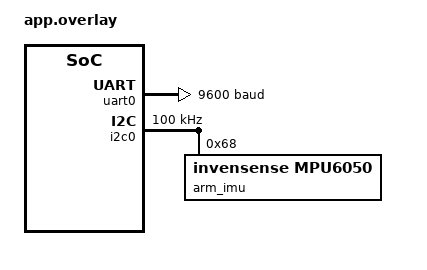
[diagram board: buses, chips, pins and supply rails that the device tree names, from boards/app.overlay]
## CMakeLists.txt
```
cmake_minimum_required(VERSION 3.13.1)
set(DTC_OVERLAY_FILE "boards/app.overlay")
find_package(Zephyr REQUIRED HINTS $ENV{ZEPHYR_BASE})
project(baahubali LANGUAGES C)
target_sources(app PRIVATE src/main.c)
```

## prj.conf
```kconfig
CONFIG_USB_DEVICE_PRODUCT="Team Rudra Baahubali"
CONFIG_Tarzan=y
CONFIG_USB_DEVICE_STACK=y
CONFIG_RTC=y
CONFIG_GPIO=y
CONFIG_PRINTK=y
CONFIG_Tarzan=y
CONFIG_MPU6050=y
CONFIG_I2C=y
CONFIG_SENSOR=y
CONFIG_QDEC_DIST_STM32=n
CONFIG_CANSCRIBE=y
CONFIG_CANARD=y
```

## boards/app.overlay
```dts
/ {
   
    aliases {
        imu-joint = &arm_imu;
   			pico-uart = &uart0;
    };
};

&uart0{
	status = "okay";
	current-speed = <9600>;
};
&i2c0 {
	status = "okay"; 
	pinctrl-0 = <&i2c0_default>;
	pinctrl-names = "default"; 
	clock-frequency = <100000>; 
  arm_imu: mpu6050@68 { 
		compatible = "invensense,mpu6050";
		reg = <0x68>;
		status = "okay"; 
	};
  };
```

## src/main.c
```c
#include <zephyr/kernel.h>
#include <zephyr/device.h>
#include <zephyr/drivers/i2c.h>
#include <zephyr/sys/printk.h>
#include <zephyr/sys/util.h>
#include <zephyr/drivers/uart.h>
#include <zephyr/drivers/sensor.h>
#include <Tarzan/lib/arm.h>
#include <Tarzan/lib/cobs.h>

static struct imu_data imu_used = {
   .error_code=IMU_NOT_READY,
   .prev_time= 0.0,
   .pitch= 0.0,
   .roll= 0.0
};
#define TX_BUF_LEN 512
static const struct device *imu_joint = DEVICE_DT_GET(DT_ALIAS(imu_joint));

const struct device *uart0_dev = DEVICE_DT_GET(DT_ALIAS(pico_uart));
// const struct device *uart1_dev = DEVICE_DT_GET(DT_NODELABEL(uart1));

#define M_PI 3.14159265358979323846

//float accel_offset[3], gyro_offset[3];
float angle_pitch = 0.0, angle_roll = 0.0;
float k = 0.90; // k here is tau
float target_angle = -45;
uint64_t prev_time = 0;

float true_acc[3] = {0, 0, -9.8};
float true_gyro[3] = {0, 0, 0};

int calibration_mpu(const struct device *dev, struct imu_data *data);
int process_pitch_roll_mpu(const struct device *dev, struct imu_data *data);
void send_string_poll(const struct device *uart_dev, const char *str);

int main(void)
{
    int ret;
    char tx_buf[TX_BUF_LEN];
    if (!device_is_ready(uart0_dev)) {
      printk("Uart0  device not ready\n");
      return -1;
    }
    // if (!device_is_ready(uart1_dev)) {
    //   printk("uart1 device not ready\n");
    //   return -1;
    // }


    if (!device_is_ready(imu_joint)) {
        printk("IMU not ready.\n");
    }
    if (calibration_mpu(imu_joint, &imu_used)) {
    printk("Calibration failed for device %s\n", imu_joint->name);
    }
    while(1)
  {
    ret = process_pitch_roll_mpu(imu_joint, &imu_used); 
    cobs_encode_result result = cobs_encode(tx_buf, TX_BUF_LEN, &imu_used, sizeof(struct imu_data)); 
    tx_buf[TX_BUF_LEN - 1] = 0x00;
    for (int i = 0; i < TX_BUF_LEN; i++) {
      uart_poll_out(uart0_dev, tx_buf[i]);
    }
  }
}

int calibration_mpu(const struct device *dev, struct imu_data *data) {
  struct sensor_value accel[3];
  struct sensor_value gyro[3];

  for (int i = 0; i < 1000; i++) {

    int rc = sensor_sample_fetch(dev);
     if(rc!=0) {
       data->error_code= IMU_FETCH_FAILED;
       return -1;
     }
    
     rc = sensor_channel_get(dev, SENSOR_CHAN_ACCEL_XYZ, accel);
     if(rc!=0) {
       data->error_code= IMU_FETCH_FAILED;
       return -1;
     }

      rc = sensor_channel_get(dev, SENSOR_CHAN_GYRO_XYZ, gyro);
     if(rc!=0) {
      data->error_code= IMU_FETCH_FAILED;
      return -1;
    }

    for (int i = 0; i < 3; i++) {
      data->accel_offset[i] += (sensor_value_to_double(&accel[i]) - true_acc[i]);
      data->gyro_offset[i] += (sensor_value_to_double(&gyro[i]) - true_gyro[i]);
    }
    k_sleep(K_MSEC(1));
  }
  data->error_code= IMU_OK;
  for (int i = 0; i < 3; i++) {
    data->accel_offset[i] = data->accel_offset[i] / 1000.0;
    data->gyro_offset[i] = data->gyro_offset[i] / 1000.0;
  }

  printk("Calibration done\n");
  printk("accel_offset: %f %f %f\n", data->accel_offset[0], data->accel_offset[1],
         data->accel_offset[2]);
  printk("gyroOffset: %f %f %f\n", data->gyro_offset[0], data->gyro_offset[1],
         data->gyro_offset[2]);

  return 0;
}

int process_pitch_roll_mpu(const struct device *dev, struct imu_data *data) {

  struct sensor_value accel[3];
  struct sensor_value gyro[3];

  uint64_t current_time = k_uptime_get();

  double dt = (double)(current_time - data->prev_time) / 1000.0;

  int rc = sensor_sample_fetch(dev);

  if (rc == 0)
    rc = sensor_channel_get(dev, SENSOR_CHAN_ACCEL_XYZ, accel);
  if (rc == 0)
    rc = sensor_channel_get(dev, SENSOR_CHAN_GYRO_XYZ, gyro);
  if(rc !=0)
  {
    data->error_code= IMU_FETCH_FAILED;
    return -1;
  }

  data->prev_time = current_time;
  data->accel[0] = sensor_value_to_double(&accel[0]);
  data->accel[1] = sensor_value_to_double(&accel[1]);
  data->accel[2] = sensor_value_to_double(&accel[2]);
  data->gyro[0] = sensor_value_to_double(&gyro[0]) - data->gyro_offset[0];
  data->gyro[1] = sensor_value_to_double(&gyro[1]) - data->gyro_offset[1];
  data->gyro[2] = sensor_value_to_double(&gyro[2]) - data->gyro_offset[2];

  // printk("%03.3f %03.3f %03.3f | %03.3f %03.3f %03.3f\n", data->accel[0],
  // data->accel[1], data->accel[2], data->gyro[0], data->gyro[1], data->gyro[2]);

  if (rc == 0) 
  {
    double pitch_acc = (atan2(-1 * data->accel[0], sqrt(pow(data->accel[1], 2) +
                                                       pow(data->accel[2], 2))));
    double roll_acc = (atan2(-1 * data->accel[1], sqrt(pow(data->accel[2], 2) +
                                                      pow(data->accel[0], 2))));
    data->pitch =k * (data->pitch + (data->gyro[1]) * (dt)) + (1 -k) * pitch_acc;
    data->roll =k * (data->roll + (data->gyro[2]) * (dt)) + (1 - k) * roll_acc;
    data->error_code= IMU_OK;
  } 
  else 
  {
    return 1;
  }
  return 0;
}
void send_string_poll(const struct device *uart_dev, const char *str)
{
	for (int i = 0; str[i] != '\0'; i++) {
		uart_poll_out(uart_dev, str[i]);
	}
}
```
